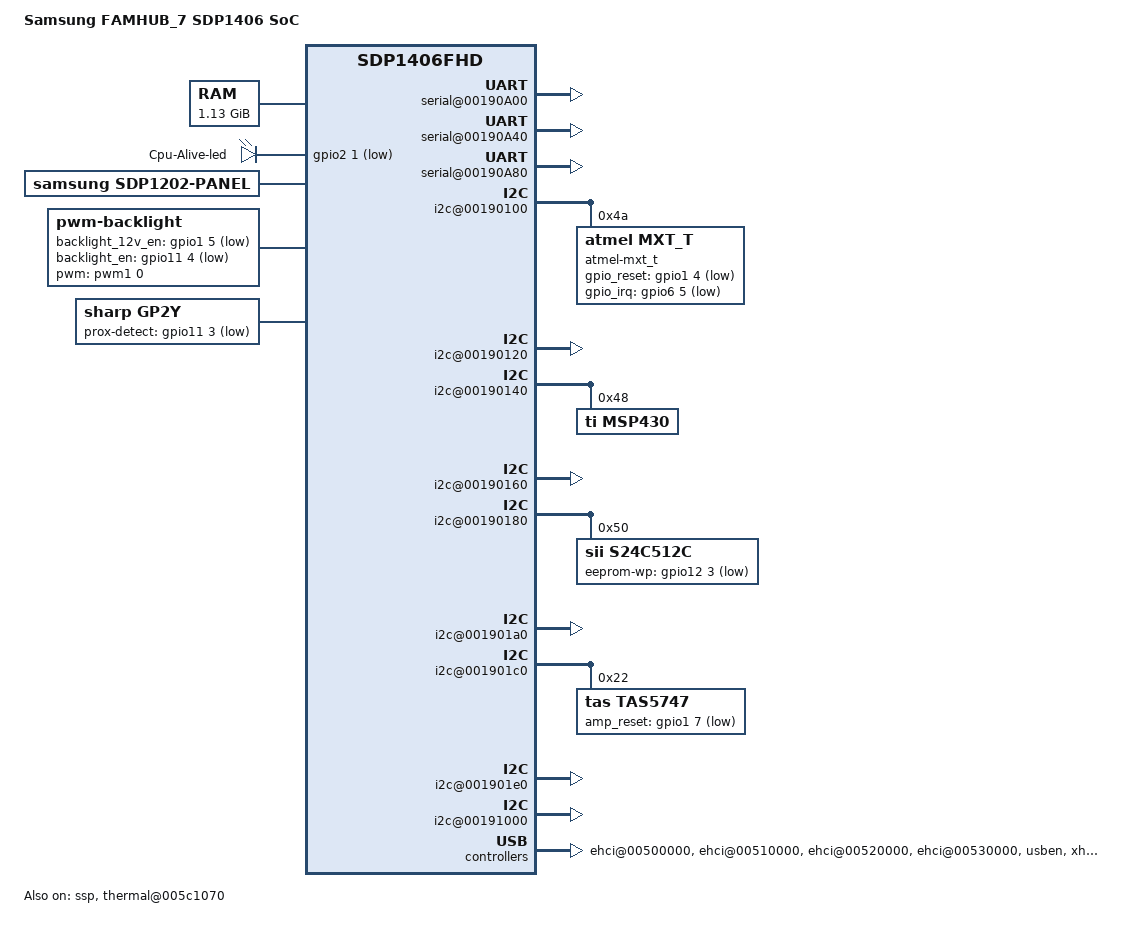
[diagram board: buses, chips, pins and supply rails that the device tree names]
/dts-v1/;
#include "sdp1406.dtsi"

/ {
	model = "Samsung FAMHUB_7 SDP1406 SoC";
	compatible = "samsung,dtv", "samsung,sdp1406fhd";

	memory {
		device_type = "memory";
		reg = <0x1000000 0x1F000000>, <0x22800000 0x12800000>, <0x40000000 0x17000000>;
	};

	chosen {
		bootargs="root=/dev/mmcblk0p12 rootfstype=ext4 rw rootwait INITRD_PARAM_GO_HERE console=ttyS0,115200N8 earlyprintk sdp_sparsemem vmalloc=550M panic=10";
	};

	fixed-rate-clocks {
		fin {
			compatible = "samsung,sdp-clock-fin";
			clock-frequency = <24576000>;
		};
	};

	mmc {
		tuning_sam_hs400_default = <0x001000A8 0x000000CF 0x00000041>,
								 <0x00100188 0x000003FF 0x000000B0>;/* fhd read dqs delay(44step) */

		//		hs200;
		//		hs200-tuning;
		hs400;
	};

	serial@00190A00 {
		status = "okay";
	};

	serial@00190A40 {
		status = "okay";
	};

	serial@00190A80 {
		status = "okay";
	};

	dummy@00190AC0 {
		status = "okay";
		compatible = "samsung,sdp1304-uart-micom";
	};
/*
	serial@00190AC0 {
		status = "okay";
	};

	serial@00191400 {
		status = "okay";
	};
*/
	
	   rtc {
	   compatible = "samsung,dummy-rtc";
	   };


	pinctrl{
		compatible = "samsung,sdp-pinctrl";
		reg = <0x005C1000 0x230>;
		start-offset = <0x118>;
		nr-banks = <23>;
		model-sel = <1>;
	};

	leds {
		compatible = "gpio-leds";
		alive_led@0 {
			label = "Cpu-Alive-led";
			gpios = <&gpio2 1 1>;
			linux,default-trigger = "timer";
		};
	};

	sdp_messagebox@800100 {
		compatible = "samsung,sdp-messagebox";
		reg = <0x800100 0x500>;
		interrupts = <0 83 0>;
	};

	/* I2C-0 */
	i2c@00190100 {
		compatible = "samsung,sdp-i2c";
		status = "okay";
		samsung,i2c-sda-delay = <1>;
		samsung,i2c-slave-addr = <0x68>;
		samsung,i2c-max-bus-freq = <400000>;
		samsung,i2c-irq-status-reg = <0x001901f4>;
		samsung,i2c-cpu-affinity = <3>;
		samsung,scl-gpio = <&gpio16 1 1>;
		samsung,sda-gpio = <&gpio16 2 1>;
		samsung,i2c-channel-number = <0>;
		samsung,hdmi-disable = <1>; 	//hdmi (1 : disable, 0: enable)
		initregs = <0x005C104C 0x00040000 0x00040000>;/*EXTINT[18] SEL*/ 			

		atmel-mxt_t@4a {
			compatible = "atmel,mxt_t";
			reg = <0x4a>;
			atmel,boot_addr = <0x26>;
			atmel,gpio_reset = <&gpio1 4 1>;
			atmel,gpio_irq = <&gpio6 5 1>;
			atmel,x-size = <4096>;
			atmel,y-size = <4096>;
			atmel,num_xnode = <39>;
			atmel,num_ynode = <68>;
			atmel,num_touchkey = <5>;
		};
	};


	/* I2C-1 */
	i2c@00190120 {
		compatible = "samsung,sdp-i2c";
		status = "okay";
		samsung,i2c-sda-delay = <1>;
		samsung,i2c-slave-addr = <0x40>;
		samsung,i2c-max-bus-freq = <400000>;
		samsung,i2c-irq-status-reg = <0x001901f4>;
		samsung,i2c-cpu-affinity = <3>;
		samsung,scl-gpio = <&gpio16 3 1>;
		samsung,sda-gpio = <&gpio16 4 1>;
		samsung,i2c-channel-number = <1>;
		samsung,hdmi-disable = <1>;
	};

	/* I2C-2 */
	i2c@00190140 {
		compatible = "samsung,sdp-i2c";
		status = "okay";
		samsung,i2c-sda-delay = <1>;
		samsung,i2c-slave-addr = <0x3a>, <0x11>;
		samsung,i2c-max-bus-freq = <400000>;
		samsung,i2c-irq-status-reg = <0x001901f4>;
		samsung,i2c-cpu-affinity = <3>;
		samsung,scl-gpio = <&gpio16 5 1>;
		samsung,sda-gpio = <&gpio16 6 1>;
		samsung,i2c-channel-number = <2>;

		msp430@48 {
			compatible = "ti,msp430";
			reg = <0x48>;
		};
	};

	/* I2C-3 */
	i2c@00190160 {
		compatible = "samsung,sdp-i2c";
		status = "okay";
		samsung,i2c-sda-delay = <1>;
		samsung,i2c-slave-addr = <0x23>;
		samsung,i2c-max-bus-freq = <400000>;
		samsung,i2c-irq-status-reg = <0x001901f4>;
		samsung,i2c-cpu-affinity = <3>;
		samsung,scl-gpio = <&gpio16 7 1>;
		samsung,sda-gpio = <&gpio17 0 1>;
		samsung,i2c-channel-number = <3>;
	};

	/* I2C-4 */
	i2c@00190180 {
		compatible = "samsung,sdp-i2c";
		status = "okay";
		samsung,i2c-sda-delay = <1>;
		samsung,i2c-slave-addr = <0x4a>;
		samsung,i2c-max-bus-freq = <400000>;
		samsung,i2c-irq-status-reg = <0x001901f4>;
		samsung,i2c-cpu-affinity = <3>;
		samsung,scl-gpio = <&gpio17 7 1>;
		samsung,sda-gpio = <&gpio18 0 1>;
		samsung,i2c-channel-number = <7>;
		samsung,hdmi-disable = <1>;

		s24c512c@50 {
			compatible = "sii,s24c512c";
			reg = <0x50>;
			samsung,eeprom-wp = <&gpio12 3 1>;
		};
	};

	/* I2C-5 */
	i2c@001901a0 {
		status = "okay";
		samsung,i2c-sda-delay = <1>;
		samsung,i2c-max-bus-freq = <400000>;
		samsung,i2c-irq-status-reg = <0x001901f4>;
		samsung,i2c-cpu-affinity = <3>;
	};

	/* I2C-6 */
	i2c@001901c0 {
		status = "okay";
		samsung,i2c-sda-delay = <1>;
		samsung,i2c-max-bus-freq = <400000>;
		samsung,i2c-irq-status-reg = <0x001901f4>;
		samsung,i2c-cpu-affinity = <3>;

		  /* Amp */
		tas5747@22 {
			compatible = "tas,tas5747";
			tas,amp_reset = <&gpio1 7 1>;
			reg = <0x22>;
		};
	};

	/* I2C-7 */
	i2c@001901e0 {
		compatible = "samsung,sdp-i2c";
		status = "okay";
		samsung,i2c-sda-delay = <1>;
		samsung,i2c-slave-addr = <0x4a>;
		samsung,i2c-max-bus-freq = <400000>;
		samsung,i2c-irq-status-reg = <0x001901f4>;
		samsung,i2c-cpu-affinity = <3>;
		samsung,scl-gpio = <&gpio17 7 1>;
		samsung,sda-gpio = <&gpio18 0 1>;
		samsung,i2c-channel-number = <7>;
		samsung,hdmi-disable = <1>;
	};

	/* I2C-8 */
	i2c@00191000 {
		status = "okay";
		samsung,i2c-sda-delay = <1>;
		samsung,i2c-max-bus-freq = <400000>;
		samsung,i2c-irq-status-reg = <0x001910f4>;
		samsung,i2c-cpu-affinity = <3>;
	};
/*
	i2c@00191020 {
		status = "okay";
		samsung,i2c-sda-delay = <1>;
		samsung,i2c-max-bus-freq = <400000>;
		samsung,i2c-irq-status-reg = <0x001910f4>;
		samsung,i2c-pad-enable = <0x005C1040 0x800000>;
		samsung,i2c-cpu-affinity = <3>;
	};

	i2c@00191040 {
		status = "okay";
		samsung,i2c-sda-delay = <1>;
		samsung,i2c-max-bus-freq = <400000>;
		samsung,i2c-irq-status-reg = <0x001910f4>;
		//	samsung,i2c-pad-enable = <0x10030000 0x80000000>;// Mux HS
		samsung,i2c-cpu-affinity = <3>;
	};

	i2c@00191060 {
		status = "okay";
		samsung,i2c-sda-delay = <1>;
		samsung,i2c-max-bus-freq = <400000>;
		samsung,i2c-irq-status-reg = <0x001910f4>;
		samsung,i2c-pad-enable = <0x005C1040 0x1000000>;
		samsung,i2c-cpu-affinity = <3>;
	};

	i2c@00191080 {
		status = "okay";
		samsung,i2c-sda-delay = <1>;
		samsung,i2c-max-bus-freq = <400000>;
		samsung,i2c-irq-status-reg = <0x001910f4>;
		samsung,i2c-pad-enable = <0x005C1040 0x2000000>;
		samsung,i2c-cpu-affinity = <3>;
	};

	i2c@001910a0 {
		status = "okay";
		samsung,i2c-sda-delay = <1>;
		samsung,i2c-max-bus-freq = <400000>;
		samsung,i2c-irq-status-reg = <0x001910f4>;
		samsung,i2c-cpu-affinity = <3>;
	};

	i2c@001910c0 {
		status = "okay";
		samsung,i2c-sda-delay = <1>;
		samsung,i2c-max-bus-freq = <400000>;
		samsung,i2c-irq-status-reg = <0x001910f4>;
		samsung,i2c-pad-enable = <0x005C1044 0x8000000>;
		samsung,i2c-cpu-affinity = <3>;
	};

	i2c@001910e0 {
		status = "okay";
		samsung,i2c-sda-delay = <1>;
		samsung,i2c-max-bus-freq = <400000>;
		samsung,i2c-irq-status-reg = <0x001910f4>;
		samsung,i2c-pad-enable = <0x005C1044 0x10000000>;
		samsung,i2c-cpu-affinity = <3>;

	};
*/
	ssp {
		status = "okay";
		compatible = "samsung,sdp-spi";
		reg = <0x190200 0x20>;
		interrupts = <0 38 0>;
		clocks = <&apb_pclk>;
		clock-names = "apb_pclk";
		//num-chipselect = <0>;
		mode-gpios = <&gpio12 4 0>;
		cs-gpios = <&gpio12 5 0>;

		initregs = <0x005C1040 0x00080000 0x00080000>,/*PAD SPI_SEL*/
				   <0x005C1160 0x03000000 0x01000000>,
				   <0x005C11B4 0x00000003 0x00000001>, 
				   <0x005C104C 0x00020000 0x00020000>,/*EXTINT[17] SEL*/ 
				   <0x005C1048 0x00000100 0x00000100>;/*I2S MCLK SEL*/ 
		max-clock-limit = <27000000>;
		bus-num = <0x0>;

		yamaha-ymu831@0 {
			compatible = "yamaha,ymu831";
			spi-max-frequency = <10000000>;
			reg = <0>;
			gpio_reset = <&gpio3 6 0>;
			//ext-clock = <27000000>;
			//ext-reg = <0x005C104C>;  /*EXTINT_SEL*/
			//ext-int = <19>;
		};
	};

	panel: panel {
		compatible = "samsung,sdp1202-panel";
	};

	dummy_panel {
		compatible = "dummy_panel";

		panel = <&panel>;

		display-timings {
			native-mode = <&timing0>;

			timing0: timing-0 {
				clock-frequency = <0>;
				hactive = <1920>;
				vactive = <1080>;
				hfront-porch = <0>;
				hback-porch = <0>;
				hsync-len = <0>;
				vfront-porch = <0>;
				vback-porch = <0>;
				vsync-len = <0>;
		 	};
		};
	};

	   ehci@00500000 {
		   status = "okay";
		   /*	samsung,sw-reset = <0x005C0000 0xE4 0x1000>;
				samsung,ehci-gpr_reg = <0x00540000 0x04 0x7000>;
				samsung,ehci-gpr_reg1 = <0x00540000 0x0C 0x100C0>;
				samsung,sw-reset-release = <0x005C0000 0xE4 0x1000>;*/
	   };

	   ehci@00510000 {
		   status = "okay";
		   /*	samsung,sw-reset = <0x005C0000 0xE4 0x2000>;
				samsung,ehci-gpr_reg = <0x00540000 0x18 0x7000>;
				samsung,ehci-gpr_reg1 = <0x00540000 0x20 0x100C0>;
				samsung,sw-reset-release = <0x005C0000 0xE4 0x2000>;*/
	   };

	   ehci@00520000 {
		   status = "okay";
		   /*	samsung,sw-reset = <0x005C0000 0xE4 0x4000>;
				samsung,ehci-gpr_reg = <0x00540000 0x2c 0x7000>;
				samsung,ehci-gpr_reg1 = <0x00540000 0x34 0x100C0>;
				samsung,sw-reset-release = <0x005C0000 0xE4 0x4000>;*/
	   };

	   ehci@00530000 {
		   status = "okay";
		   /*	samsung,sw-reset = <0x005C0000 0xE4 0x8000>;
				samsung,ehci-gpr_reg = <0x00540000 0x40 0x7000>;
				samsung,ehci-gpr_reg1 = <0x00540000 0x48 0x100C0>;
				samsung,sw-reset-release = <0x005C0000 0xE4 0x8000>;*/
	   };

	   usben {
		   status = "okay";
		   samsung,usb-enable = <&gpio13 1 0>;
	   };

	   usb_ocp {
			status = "okay";
			compatible = "samsung,usb_ocp";
			extint-reg = <0x005C104C>;
			camera_ocp_int = <0>;  // Camera
			usb_debug_ocp_int = <17>; // USB debug
			bt_ocp_int = <19>; // Blue Tooth
			st_ocp_int = <21>; // Smart Things
	   };

	   xhci@00400000 {
		   status = "okay";
	   };


	   ohci@00508000 {
		   status = "okay";
	   };

	   ohci@00518000 {
		   status = "okay";
	   };

	   ohci@00528000 {
		   status = "okay";
	   };

	   ohci@00538000 {
		   status = "okay";
	   };

	   sdp_mfc@0x00a40000 {
		   samsung,bus-mode = "2bus-a";
		   samsung,fw-name = "sdp_mfc/ucode-mfc.fw";
		   samsung,fw-size = <0x300000>;
		   xmif_a_reg = <0x00F10700>;
		   xmif_b_reg = <0x00F20700>;
		   xmif_c_reg = <0x00F30700>;
	   };

	   sdp_hen@0x00ac0000 {
		   samsung,fw-name = "sdp_hen/ucode-hen.fw";
		   samsung,fw-size = <0x100000>;
		   xmif_a_reg = <0x00F10700>;
		   xmif_b_reg = <0x00F20700>;
		   xmif_c_reg = <0x00F30700>;
	   };

	   sdp_hevc@00b40000 {
		   samsung,fw-name = "sdp_hevc/ucode-hevc.fw";
		   samsung,fw-size = <0x200000>;
	   };

	   dvb {
		   compatible = "samsung,sdp-dvb";
	   };

	   sdp_uddec@00b00000 {
		   samsung,bus-mode = "2bus-a";
		   samsung,dram-base-a = <0x6b400000>;
		   samsung,dram-base-b = <0x23000000>;
	   };

	sdp_mmap {
		compatible = "samsung,sdp-mmap";

		samsung,cursor = <0x0 0x22600000 0x180000>;
		samsung,dp-ttx-vbi = <0x0 0x22780000 0x40000>;
		samsung,align2 = <0x0 0x227C0000 0x40000>;
		samsung,kernel0 = <0x0 0x22800000 0x12800000>;
		samsung,gfx0 = <0x0 0x35000000 0x1000000>;
		samsung,gfx1 = <0x0 0x36000000 0x1000000>;
		samsung,gfx2 = <0x0 0x37000000 0x0>;
		samsung,gen-ga = <0x0 0x37000000 0x0>;
		samsung,gfx-capture = <0x0 0x37000000 0x0>;
		samsung,ae0 = <0x0 0x37000000 0x1200000>;
		samsung,mfc-a = <0x0 0x38200000 0x1600000>;
		samsung,hen-a = <0x0 0x39800000 0x500000>;
		samsung,tfc-out-y = <0x0 0x39D00000 0x0>;
		samsung,dp0 = <0x0 0x39D00000 0x24C0000>;
		samsung,dp2 = <0x0 0x3C1C0000 0xE40000>;
		samsung,dp-bg-y = <0x0 0x3D000000 0x1400000>;
		samsung,dp-bg-c = <0x0 0x3E400000 0x1000000>;
		samsung,emergency_log = <0x0 0x3F400000 0x40000>;
		samsung,align0 = <0x0 0x3F440000 0x640000>;
		samsung,chdec = <0x0 0x3FA80000 0x480000>;
		samsung,str = <0x0 0x3FF00000 0x100000>;

		samsung,se-tz = <0x0 0x57000000 0x200000>;
		samsung,tfc-out-c = <0x0 0x57200000 0x0>;
		samsung,mfc-b = <0x0 0x57200000 0x4280000>;
		samsung,hen-b = <0x0 0x5B480000 0x180000>;
		samsung,dp-enc = <0x0 0x5B600000 0x300000>;
		samsung,dp1 = <0x0 0x5B900000 0x2440000>;
		samsung,dp3 = <0x0 0x5DD40000 0xB80000>;
		samsung,dp-oce = <0x0 0x5E8C0000 0x40000>;
		samsung,dp-cw-y = <0x0 0x5E900000 0x200000>;
		samsung,dp-cw-c = <0x0 0x5EB00000 0x200000>;
		samsung,dp-vt-c = <0x0 0x5ED00000 0x0>;
		samsung,dp-vt-y = <0x0 0x5ED00000 0x0>;
		samsung,tfc-capture-y = <0x0 0x5ED00000 0x0>;
		samsung,tfc-capture-c = <0x0 0x5ED00000 0x0>;
		samsung,avd = <0x0 0x5ED00000 0x600000>;
		samsung,tsd = <0x0 0x5F300000 0x300000>;
		samsung,ace-scaler = <0x0 0x5F600000 0x0>;
		samsung,pvr = <0x0 0x5F600000 0x700000>;
		samsung,align1 = <0x0 0x5FD00000 0x300000>;

	};

	   thermal@005c1070 {
		   status = "okay";
		   compatible = "samsung,sdp-thermal";

		   reg = <0x005c1070 0x30>;

		   sensor_id = <0>;

		   start_cold_throttle = <40>;
		   stop_cold_throttle  = <45>;
		   stop_1st_throttle   = <78>;
		   start_1st_throttle  = <81>;
		   stop_2nd_throttle   = <84>;
		   start_2nd_throttle  = <87>;
		   stop_3rd_throttle   = <90>;
		   start_3rd_throttle  = <95>;
		   start_3rd_hotplug   = <95>;

		   cpu_limit_1st_throttle	= <1000000>;
		   cpu_limit_2nd_throttle	= <1000000>;
		   cpu_limit_3rd_throttle	= <1000000>;

		   gpu_limit_1st_throttle	= <370000>;
		   gpu_limit_2nd_throttle	= <370000>;
		   gpu_limit_3rd_throttle	= <370000>;

		   log_file_path = "/tmp/ThermalThrottle.txt";
	   };

	   backlight {
		   compatible = "pwm-backlight";
		   backlight_12v_en = <&gpio1 5 1>;
		   backlight_en = <&gpio11 4 1>;
		   pwms = <&pwm1 0 100000>;
		   brightness-levels = 
			   <5 7 10 12 15 17 20 22 25 27 
			   30 32 35 37 40 42 45 47 50 54 
			   56 59 61 64 66 69 71 74 76 79 
			   81 84 86 89 91 94 96 99 101 103
			   105 107 110 112 115 117 120 122 125 127 
			   130 132 135 137 140 142 145 147 150 153 
			   155 158 160 163 165 168 170 173 175 178 
			   180 183 185 188 190 193 195 198 201 204 
			   206 209 211 214 216 219 222 225 227 230 
			   232 235 237 239 241 244 246 249 251 253 
			   255>;
		   default-brightness-level = <50>;
	   };

	gp2y {
		compatible = "sharp,gp2y";
		prox-detect = <&gpio11 3 1>;
	};
	
};


